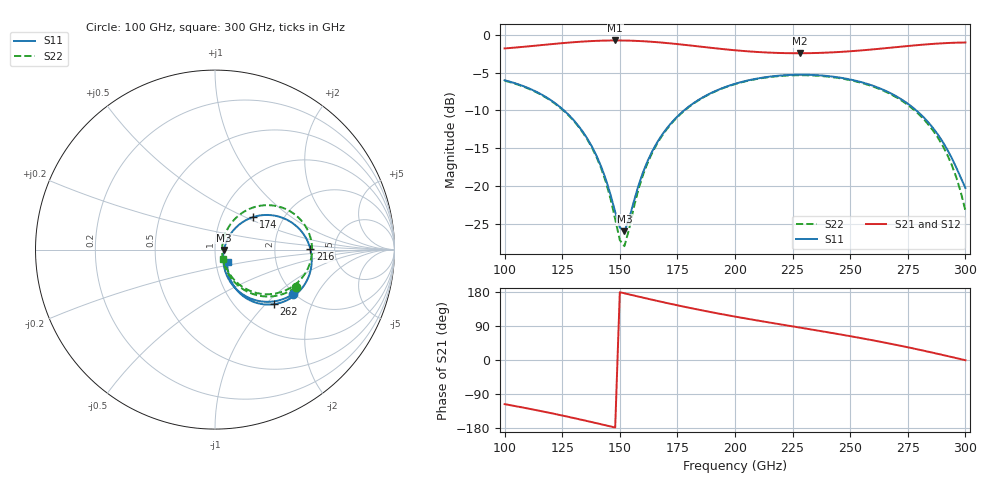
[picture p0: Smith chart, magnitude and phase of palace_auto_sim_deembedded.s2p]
! Created with skrf 1.11.0 (http://scikit-rf.org).
# GHz S DB R 50.0
!freq dBS11 angS11 dBS21 angS21 dBS12 angS12 dBS22 angS22
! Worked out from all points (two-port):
!   101 points, 100 GHz to 300 GHz, reference 50 ohm
!   highest |S21| = -0.73 dB at 148 GHz (marker M1); lowest = -2.4 dB at 228 GHz (marker M2)
!   |S21| within 3 dB of the highest: start of sweep to end of sweep
!   lowest |S11| = -26.0 dB at 152 GHz (marker M3), VSWR 1.11, Z = 55.3 - j0.148 ohm
!   |S11| at or under -10 dB: 125.8 GHz to 177.9 GHz (52.12 GHz wide, 34.3 % of centre); 278.7 GHz to end of sweep
!   |S22| runs from -28.0 to -5.3 dB; largest |S21 - S12| = 1e-14
!   S11 on the Smith chart (normalised r, x): 100 GHz: 1.97, -1.30; 174 GHz: 1.41, +0.55; 216 GHz: 3.27, +0.03; 262 GHz: 1.47, -1.12; 300 GHz: 1.14, -0.15
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100  -6.01 -29.6  -1.79 -116.5  -1.79 -116.5  -6.07 -24.8
120  -8.63 -50.3  -1.23 -140.1  -1.23 -140.1  -8.70 -44.9
134  -12.85 -63.2  -0.88 -158.6  -0.88 -158.6  -12.95 -58.2
142  -17.50 -64.7  -0.76 -169.7  -0.76 -169.7  -17.74 -61.0
148  -23.45 -47.2  -0.73 -178.3  -0.73 -178.3  -24.41 -45.9
150  -25.51 -28.4  -0.74 178.9  -0.74 178.9  -27.18 -25.4
152  -26.00 -1.5  -0.74 176.0  -0.74 176.0  -27.98 8.3
160  -18.26 45.0  -0.83 164.7  -0.83 164.7  -18.60 58.0
168  -13.38 45.0  -1.01 153.6  -1.01 153.6  -13.51 56.6
174  -11.11 40.5  -1.18 145.6  -1.18 145.6  -11.19 51.7
186  -8.28 29.2  -1.58 130.6  -1.58 130.6  -8.32 40.2
200  -6.48 15.6  -2.03 114.6  -2.03 114.6  -6.51 26.5
216  -5.49 0.4  -2.36 97.8  -2.36 97.8  -5.54 11.5
228  -5.27 -10.8  -2.43 85.7  -2.43 85.7  -5.34 0.5
234  -5.31 -16.4  -2.40 79.6  -2.40 79.6  -5.38 -5.1
248  -5.78 -29.4  -2.21 65.0  -2.21 65.0  -5.87 -18.2
262  -6.97 -42.7  -1.85 49.4  -1.85 49.4  -7.08 -31.9
268  -7.80 -48.4  -1.68 42.3  -1.68 42.3  -7.92 -38.0
280  -10.36 -58.8  -1.33 27.1  -1.33 27.1  -10.57 -50.2
288  -13.16 -62.8  -1.15 16.3  -1.15 16.3  -13.58 -57.0
294  -16.26 -60.6  -1.05 7.9  -1.05 7.9  -17.17 -59.1
300  -20.27 -44.0  -1.00 -0.6  -1.00 -0.6  -23.26 -48.1
